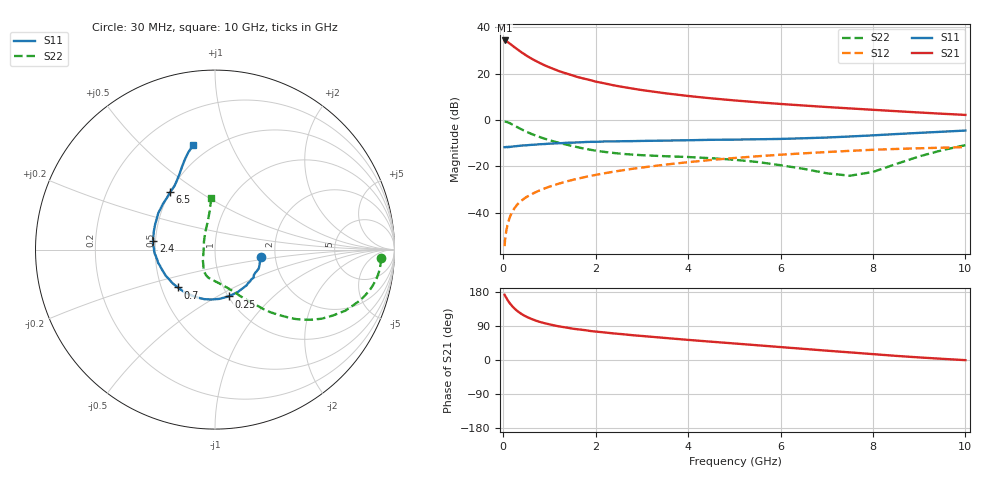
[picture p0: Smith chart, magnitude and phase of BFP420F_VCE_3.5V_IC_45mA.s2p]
! Infineon Technologies  Discrete & RF Semiconductors
! BFP420F
! VCE =  3.5 V,  IC =  45 mA
! Common Emitter S-Parameters:  Sep 2011
# GHz  S  MA  R  50
!  f  S11  S21  S12  S22
! GHz  MAG  ANG  MAG  ANG  MAG  ANG  MAG  ANG
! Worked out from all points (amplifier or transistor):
!   54 points, 30 MHz to 10 GHz, reference 50 ohm
!   highest |S21| = 34.4 dB at 30 MHz (marker M1)
!   |S21| within 3 dB of that: start of sweep to 248.8 MHz
!   unconditionally stable (mu >= 1): 1.354 GHz to end of sweep
!   at 120 MHz: K = 0.41, MSG = 38.4 dB, |S12| = -43.3 dB
!   at 1.3 GHz: K = 0.99, MSG = 23.7 dB, |S12| = -26.9 dB
!   at 10 GHz: K = 1.21, MAG = 4.2 dB, |S12| = -11.6 dB
!   S11 on the Smith chart (normalised r, x): 30 MHz: 1.68, -0.16; 250 MHz: 1.00, -0.57; 700 MHz: 0.61, -0.28; 2.4 GHz: 0.49, +0.05; 6.5 GHz: 0.50, +0.39; 10 GHz: 0.40, +0.73
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0.03  0.2605 -9.6  52.46 172.1  0.0019 86.9  0.9246 -3.0
0.05  0.2596 -15.4  51.21 167.4  0.0031 88.7  0.9252 -6.3
0.07  0.2653 -23.6  50.42 163.4  0.0043 81.5  0.9168 -9.5
0.08  0.2619 -27.1  49.48 161.2  0.0047 82.5  0.9107 -10.9
0.12  0.262 -39.5  46.78 153.4  0.0068 80.8  0.8783 -16.4
0.15  0.2658 -48.3  44.29 148.5  0.0084 78.3  0.8503 -19.9
0.2  0.2684 -61.9  40.58 141.4  0.0107 75.6  0.8021 -25.1
0.25  0.2715 -73.8  37.06 135.2  0.0128 74.0  0.7526 -29.2
0.35  0.2788 -94.2  31.35 125.2  0.0167 71.4  0.6659 -35.9
0.45  0.2841 -109.1  26.8 117.6  0.0201 70.1  0.5948 -40.6
0.6  0.2922 -126.3  21.57 108.8  0.0247 68.9  0.5082 -45.7
0.7  0.2959 -134.6  19.06 104.2  0.0278 68.6  0.4657 -48.5
0.9  0.3048 -147.2  15.18 97.0  0.0336 68.4  0.3965 -52.6
1.1  0.3133 -156.7  12.6 91.4  0.0394 68.2  0.3453 -56.5
1.7  0.3328 -174.6  8.081 79.8  0.0569 66.9  0.2485 -67.2
2.4  0.3467 172.4  5.61 70.0  0.0774 64.2  0.1951 -80.7
3.5  0.3613 157.7  3.804 58.2  0.1092 58.8  0.1663 -97.9
5.5  0.386 138.6  2.43 38.9  0.1658 46.3  0.1248 -120.7
6.5  0.4059 127.9  2.067 29.4  0.192 39.6  0.0888 -139.9
7  0.4209 122.3  1.918 24.6  0.2045 36.2  0.0712 -156.2
8.5  0.4999 111.4  1.561 10.9  0.2384 25.3  0.1129 118.4
10  0.5955 101.7  1.295 -0.4  0.2618 15.8  0.2883 94.2
